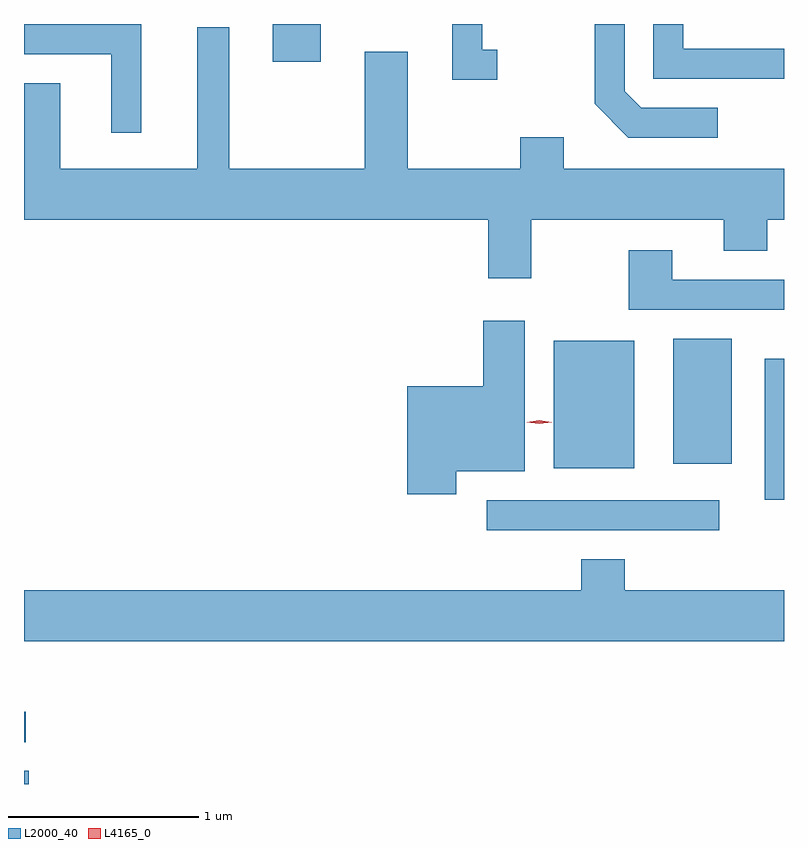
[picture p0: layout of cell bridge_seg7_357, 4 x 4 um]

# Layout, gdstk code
import gdstk
lib = gdstk.Library(unit=1e-6, precision=1e-09)
def R(c, l, rs):  # rectangles x0, y0, x1, y1
    for r in rs: c.add(gdstk.rectangle(r[:2], r[2:], *l))
def P(c, l, *ps):  # polygons
    for p in ps: c.add(gdstk.Polygon(p, *l))
L2000_40 = (2000, 40)
L4165_0 = (4165, 0)

bridge_seg7_357 = lib.new_cell('bridge_seg7_357')
R(bridge_seg7_357, L2000_40, [(1180.428,1742.425,1180.454,1742.494), (1180.428,1742.646,1180.438,1742.804), (1182.863,1743.761,1184.088,1743.919), (1184.326,1743.921,1184.428,1744.664), (1183.216,1744.086,1183.639,1744.759), (1183.846,1744.111,1184.154,1744.769), (1181.736,1746.226,1181.989,1746.425)])
P(bridge_seg7_357, L2000_40, [(1182.918,1746.289),(1182.839,1746.289),(1182.839,1746.425),(1182.681,1746.425),(1182.681,1746.131),(1182.918,1746.131)],
  [(1181.044,1746.425),(1180.428,1746.425),(1180.428,1746.266),(1180.886,1746.266),(1180.886,1745.853),(1181.044,1745.853)],
  [(1184.428,1746.294),(1183.899,1746.294),(1183.899,1746.425),(1183.741,1746.425),(1183.741,1746.136),(1184.428,1746.136)],
  [(1184.078,1745.984),(1183.677,1745.984),(1183.589,1746.072),(1183.589,1746.425),(1183.431,1746.425),(1183.431,1746.004),(1183.609,1745.826),(1184.078,1745.826)],
  [(1183.099,1745.396),(1184.111,1745.396),(1184.111,1745.231),(1184.339,1745.231),(1184.339,1745.396),(1184.428,1745.396),(1184.428,1745.664),(1183.269,1745.664),(1183.269,1745.829),(1183.041,1745.829),(1183.041,1745.664),(1182.449,1745.664),(1182.449,1746.279),(1182.221,1746.279),(1182.221,1745.664),(1181.509,1745.664),(1181.509,1746.408),(1181.341,1746.408),(1181.341,1745.664),(1180.619,1745.664),(1180.619,1746.114),(1180.428,1746.114),(1180.428,1745.396),(1182.871,1745.396),(1182.871,1745.086),(1183.099,1745.086)],
  [(1184.428,1745.079),(1183.839,1745.079),(1183.839,1745.234),(1183.611,1745.234),(1183.611,1744.921),(1184.428,1744.921)],
  [(1182.704,1744.071),(1183.064,1744.071),(1183.064,1744.864),(1182.846,1744.864),(1182.846,1744.519),(1182.446,1744.519),(1182.446,1743.951),(1182.704,1743.951)],
  [(1184.428,1743.444),(1183.589,1743.444),(1183.589,1743.609),(1183.361,1743.609),(1183.361,1743.444),(1180.428,1743.444),(1180.428,1743.176),(1184.428,1743.176)])
P(bridge_seg7_357, L4165_0, [(1183.14,1744.32),(1183.073,1744.329),(1183.073,1744.33),(1183.073,1744.33),(1183.14,1744.34),(1183.206,1744.33),(1183.206,1744.33),(1183.206,1744.329)])

lib.write_gds('bridge_seg7_357.gds')
